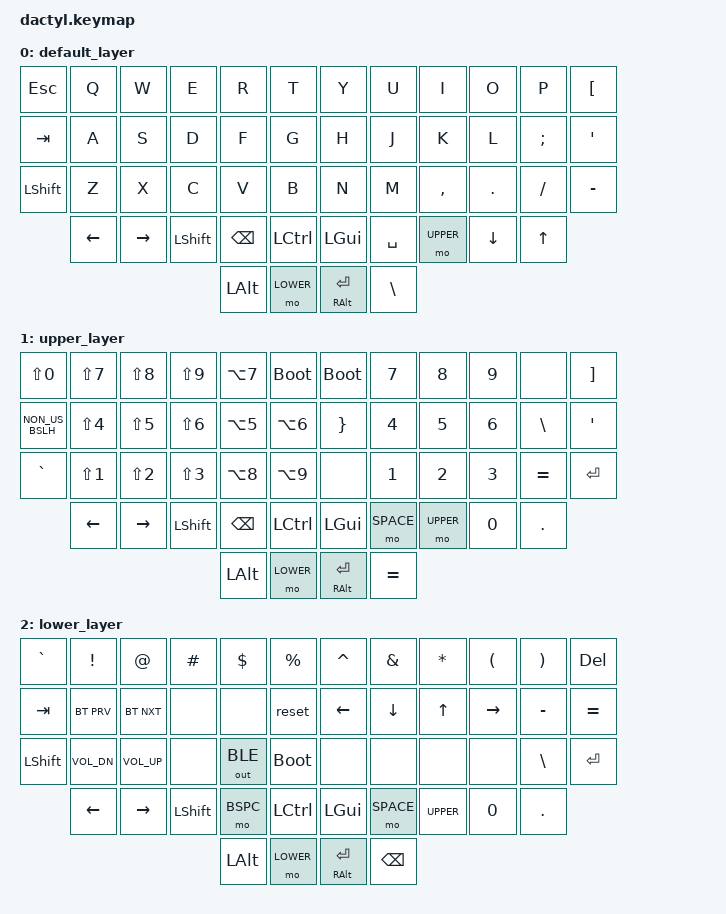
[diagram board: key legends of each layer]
#include <behaviors.dtsi>
#include <dt-bindings/zmk/bt.h>
#include <dt-bindings/zmk/keys.h>
#include <dt-bindings/zmk/outputs.h>

#define DEFUALT 0
#define UPPER 1
#define LOWER 2

/ {
    keymap {
        compatible = "zmk,keymap";

        default_layer {
// --------------------------------------------------------------------------------------------------------------------------------------------------------------------
// |   ESC   |    Q    |    W    |    E    |    R    |    T    |          |    Z    |    U    |    I    |    O    |    P    |    Ü    |
// |   TAB   |    A    |    S    |    D    |    F    |    G    |          |    H    |    J    |    K    |    L    |    Ö    |    Ä    |
// |  SHIFT  |    Y    |    X    |    C    |    V    |    B    |          |    N    |    M    |    ,    |    .    |    -    |    ß    |
//           |  LEFT   |  RIGHT  |  SHIFT  |BACKSPACE|   CTRL  |          |   CMD   |  SPACE  |  UPPER  |   DOWN  |    UP   |
//                                         |   ALT   |  LOWER  |          |  RETURN |  SPACE  |
            bindings = <
    &kp ESC    &kp Q    &kp W      &kp E      &kp R      &kp T             &kp Y        &kp U     &kp I     &kp O    &kp P      &kp LBKT
    &kp TAB    &kp A    &kp S      &kp D      &kp F      &kp G             &kp H        &kp J     &kp K     &kp L    &kp SEMI   &kp SQT
    &kp LSHIFT &kp Z    &kp X      &kp C      &kp V      &kp B             &kp N        &kp M     &kp COMMA &kp DOT  &kp FSLH   &kp MINUS
               &kp LEFT &kp RIGHT  &kp LSHIFT &kp BSPC   &kp LCTRL         &kp LGUI     &kp SPACE &mo UPPER &kp DOWN &kp UP
                                              &kp LALT   &mo LOWER         &mt RALT RET &kp BSLH
            >;  

        };

        upper_layer {
// --------------------------------------------------------------------------------------------------------------------------------------------------------------------
// |    =    |    /    |    (    |    )    |    |    |   BOOT  |               |   BOOT  |    7    |    8    |    9    |         |    +    |
// |    <    |    $    |    %    |    &    |    [    |    ]    |               |    *    |    4    |    5    |    6    |    #    |    Ä    |
// |    ^    |    !    |    "    |    §    |    {    |    }    |               |         |    1    |    2    |    3    |    ´    |    ß    |
//           |   LEFT  |  RIGHT  |  SHIFT  |BACKSPACE|   CTRL  |               |   CMD   |  SPACE  |  UPPER  |    0    |    .    |
//                                         |   ALT   |  LOWER  |               |  RETURN |    ´    |
            bindings = <
    &kp LS(N0)      &kp LS(N7) &kp LS(N8) &kp LS(N9) &kp LA(N7) &bootloader     &bootloader  &kp N7    &kp N8    &kp N9   &none        &kp RBKT
    &kp NON_US_BSLH &kp LS(N4) &kp LS(N5) &kp LS(N6) &kp LA(N5) &kp LA(N6)      &kp RBRC     &kp N4    &kp N5    &kp N6   &kp BSLH     &kp SQT
    &kp GRAVE       &kp LS(N1) &kp LS(N2) &kp LS(N3) &kp LA(N8) &kp LA(N9)      &none        &kp N1    &kp N2    &kp N3   &kp EQUAL    &kp RET
                    &kp LEFT   &kp RIGHT  &kp LSHIFT &kp BSPC   &kp LCTRL       &kp LGUI     &mo SPACE &mo UPPER &kp N0   &kp DOT
                                                     &kp LALT   &mo LOWER       &mt RALT RET &kp EQUAL
            >;

        };


        lower_layer {
// --------------------------------------------------------------------------------------------------------------------------------------------------------------------
// |   ESC   |    Q    |    W    |    E    |    R    |    T    |               |    Y    |    U    |    I    |    O    |    P    |    \    |
// |   TAB   |    A    |    S    |    D    |    F    |    G    |               |    H    |    J    |    K    |    L    |    ;    |    '    |
// |  SHIFT  |    Z    |    X    |    C    |    V    |    B    |               |    N    |    M    |    ,    |    .    |    /    |  R CTRL |
//           |   GUI   |   DEL   | RETURN  |  SPACE  | ESCAPE  |               |  RETURN |  SPACE  |   TAB   |   BSPC  |  R ALT  |
//                                         |  SPACE  | ESCAPE  |               |  RETURN |  SPACE  |
            bindings = <
    &kp GRAVE  &kp EXCL     &kp AT       &kp HASH &kp DLLR      &kp PRCNT         &kp CARET    &kp AMPS  &kp STAR  &kp LPAR  &kp RPAR  &kp DEL
    &kp TAB    &bt BT_PRV   &bt BT_NXT   &none    &none         &reset            &kp LEFT     &kp DOWN  &kp UP    &kp RIGHT &kp MINUS &kp EQUAL
    &kp LSHIFT &kp K_VOL_DN &kp K_VOL_UP &none    &out OUT_BLE  &bootloader       &none        &none     &none     &none     &kp BSLH  &kp RET
    &kp LEFT   &kp RIGHT    &kp LSHIFT   &mo BSPC &kp LCTRL     &kp LGUI          &mo SPACE    &kp UPPER &kp N0   &kp DOT
                                                  &kp LALT      &mo LOWER         &mt RALT RET &kp BSPC
            >;

        };
    };
};
